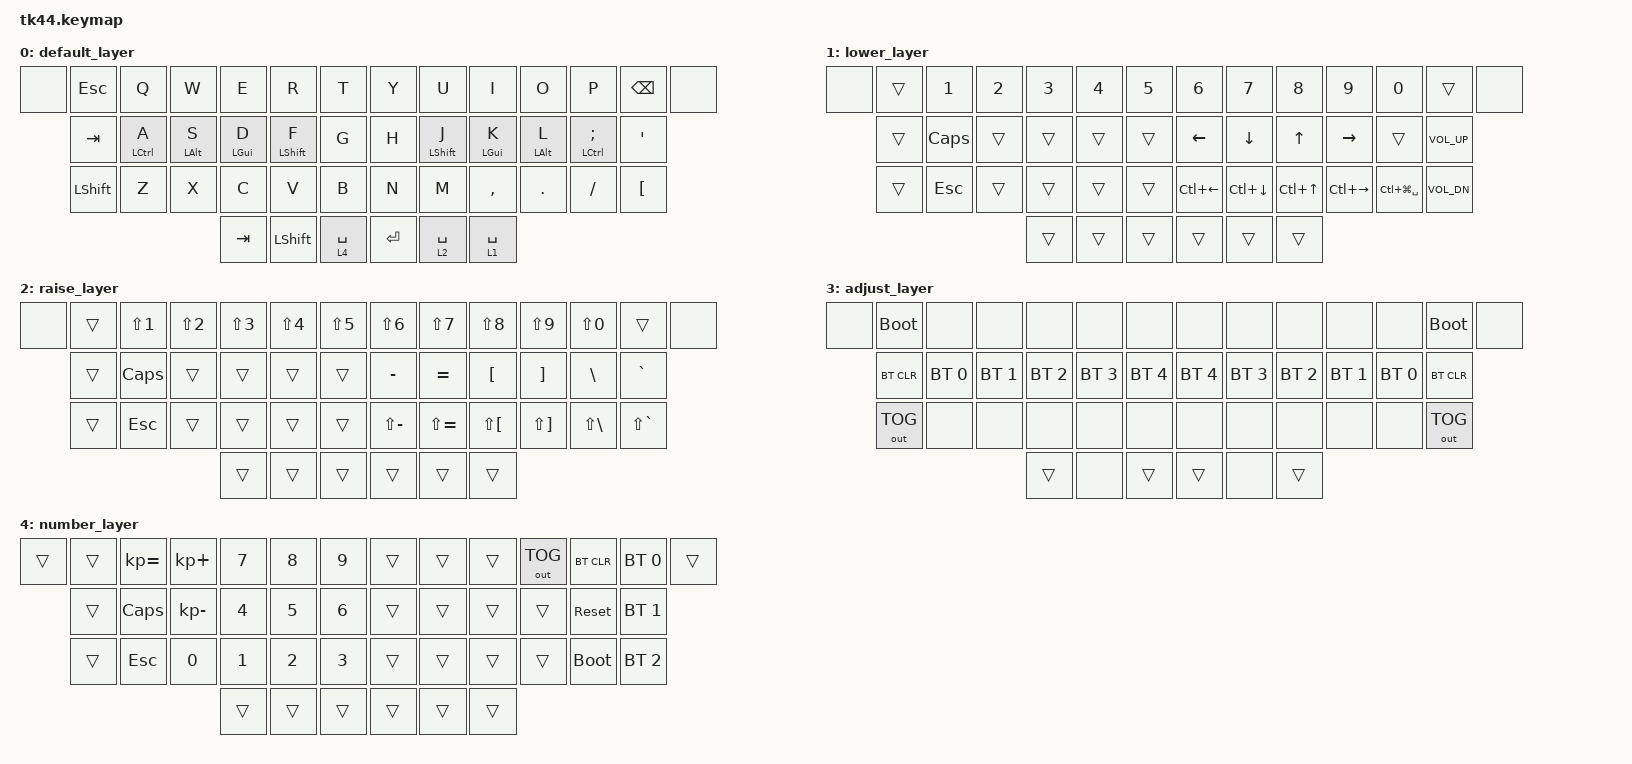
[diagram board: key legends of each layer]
/*
 * Copyright (c) 2020 The ZMK Contributors
 *
 * SPDX-License-Identifier: MIT
 */

#include <behaviors.dtsi>
#include <dt-bindings/zmk/bt.h>
#include <dt-bindings/zmk/keys.h>
#include <dt-bindings/zmk/outputs.h>

#define DEF 0
#define LWR 1
#define RSE 2
#define ADJ 3

&lt {
};

&mt {
    flavor = "tap-preferred";
};

/ {
    keymap {
        compatible = "zmk,keymap";

        default_layer {
            // -----------------------------------------------------------------------------------------
            // |  GUI |   ~  |  Q  |  W  |  E  |  R  |  T  |   |  Y  |  U   |  I  |  O  |  P  |  [   | GUI/] |
            //        | CTRL |  A  |  S  |  D  |  F  |  G  |   |  H  |  J   |  K  |  L  |  ;  |CTRL/'|
            //        | LALT |  Z  |  X  |  C  |  V  |  B  |   |  N  |  M   |  ,  |  .  |  /  | RALT |
            //                           | RSE | SPC | LWR |   | LWR | BKSP | RSE |

            bindings = <
&none  &kp ESCAPE  &kp Q        &kp W       &kp E       &kp R         &kp T          &kp Y    &kp U         &kp I        &kp O       &kp P           &kp BACKSPACE  &none
       &kp TAB     &mt LCTRL A  &mt LALT S  &mt LGUI D  &mt LSHIFT F  &kp G          &kp H    &mt LSHIFT J  &mt LGUI K   &mt LALT L  &mt LCTRL SEMI  &kp SQT
       &kp LSHFT   &kp Z        &kp X       &kp C       &kp V         &kp B          &kp N    &kp M         &kp COMMA    &kp DOT     &kp FSLH        &kp LBKT
                                            &kp TAB     &kp LSHFT     &lt 4 SPACE    &kp RET  &lt 2 SPACE   &lt 1 SPACE
            >;
        };

        lower_layer {
            // -----------------------------------------------------------------------------------------
            // |     |  _  |  F1 |  F2 |  F3 |  F4 |  F5 |   |  F6 |  F7 |  F8 |  F9 | F10 | F11 | F12 |
            //       |  +  |  !  |  @  |  #  |  $  |  %  |   |  ^  |  &  |  *  |  (  |  )  |  -  |
            //       |  =  |  1  |  2  |  3  |  4  |  5  |   |  6  |  7  |  8  |  9  |  0  |     |
            //                    | GUI |     | SPC |   | ENT |     | ALT |

            bindings = <
&none  &trans  &kp N1        &kp N2  &kp N3  &kp N4  &kp N5    &kp N6        &kp N7        &kp N8      &kp N9         &kp N0             &trans           &none
       &trans  &kp CAPSLOCK  &trans  &trans  &trans  &trans    &kp LEFT      &kp DOWN      &kp UP      &kp RIGHT      &trans             &kp C_VOLUME_UP
       &trans  &kp ESCAPE    &trans  &trans  &trans  &trans    &kp LC(LEFT)  &kp LC(DOWN)  &kp LC(UP)  &kp LC(RIGHT)  &kp LC(LG(SPACE))  &kp C_VOL_DN
                                     &trans  &trans  &trans    &trans        &trans        &trans
            >;
        };

        raise_layer {
            // -----------------------------------------------------------------------------------------
            // |     | NMLK |  /  |  7  |  8  |  9  |  -  |   | VOLU| HOME| PRSC| PGUP| SCLK| CLCK|     |
            //       | CTRL |  *  |  4  |  5  |  6  |  +  |   | MUT | LEFT|  UP | RGHT| INS | APP |
            //       |      |  0  |  1  |  2  |  3  |  .  |   | VOLD| END | DOWN| PGDN| PAUS|     |
            //                          |     |     | ADJ |   | ADJ |     |     |

            bindings = <
&none  &trans  &kp LS(N1)    &kp LS(N2)  &kp LS(N3)  &kp LS(N4)  &kp LS(N5)    &kp LS(N6)     &kp LS(N7)     &kp LS(N8)    &kp LS(N9)    &kp LS(N0)    &trans         &none
       &trans  &kp CAPSLOCK  &trans      &trans      &trans      &trans        &kp MINUS      &kp EQUAL      &kp LBKT      &kp RBKT      &kp BSLH      &kp GRAVE
       &trans  &kp ESC       &trans      &trans      &trans      &trans        &kp LS(MINUS)  &kp LS(EQUAL)  &kp LS(LBKT)  &kp LS(RBKT)  &kp LS(BSLH)  &kp LS(GRAVE)
                                         &trans      &trans      &trans        &trans         &trans         &trans
            >;
        };

        adjust_layer {
            // -----------------------------------------------------------------------------------------
            // | RST | BLDR |     |     |     |     |     |   |     |     |     |     |     | BLDR | RST |
            //       | BTCLR| BT0 | BT1 | BT2 | BT3 | BT4 |   | BT4 | BT3 | BT2 | BT1 | BT0 | BTCLR|
            //       |      |     |     |     |     |     |   |     |     |     |     |     |      |
            //                          |     |     |     |   |     |     |     |

            bindings = <
&none  &bootloader   &none         &none         &none         &none         &none           &none         &none         &none         &none         &none         &bootloader   &none
       &bt BT_CLR    &bt BT_SEL 0  &bt BT_SEL 1  &bt BT_SEL 2  &bt BT_SEL 3  &bt BT_SEL 4    &bt BT_SEL 4  &bt BT_SEL 3  &bt BT_SEL 2  &bt BT_SEL 1  &bt BT_SEL 0  &bt BT_CLR
       &out OUT_TOG  &none         &none         &none         &none         &none           &none         &none         &none         &none         &none         &out OUT_TOG
                                                 &trans        &none         &trans          &trans        &none         &trans
            >;
        };

        number_layer {
            bindings = <
&trans  &trans  &kp KP_EQUAL  &kp KP_PLUS   &kp N7  &kp N8  &kp N9    &trans  &trans  &trans  &out OUT_TOG  &bt BT_CLR   &bt BT_SEL 0  &trans
        &trans  &kp CAPSLOCK  &kp KP_MINUS  &kp N4  &kp N5  &kp N6    &trans  &trans  &trans  &trans        &sys_reset   &bt BT_SEL 1
        &trans  &kp ESC       &kp N0        &kp N1  &kp N2  &kp N3    &trans  &trans  &trans  &trans        &bootloader  &bt BT_SEL 2
                                            &trans  &trans  &trans    &trans  &trans  &trans
            >;

            label = "number_layer";
        };
    };
};
